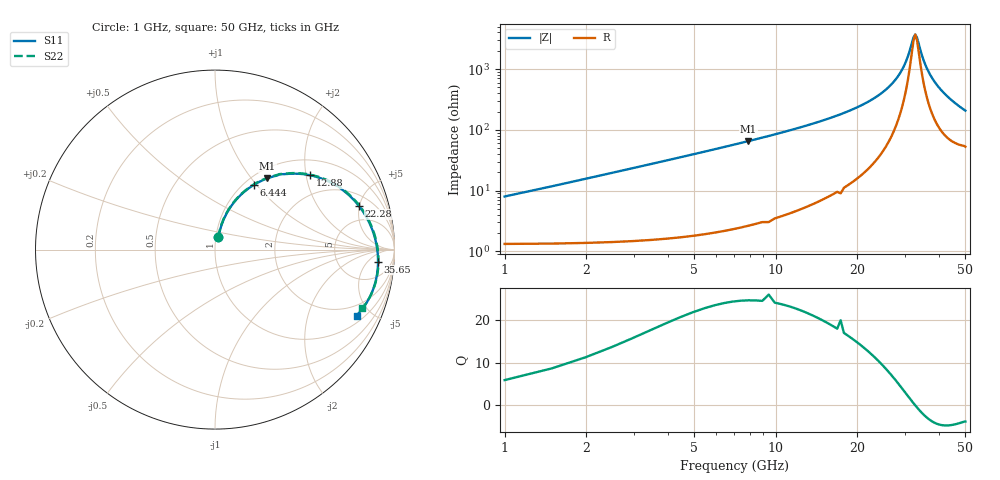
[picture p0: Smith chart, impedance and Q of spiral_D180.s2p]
! rapidmom parametric dataset (SG13G2 open stack, IHP)
! device = spiral
! family = spiral_N2
! stack = IHP SG13G2 (open PDK)
! Dout_um = 180
! width_um = 10
! spacing_um = 3
! sides = 8
! n_ports = 2
! n_dof = 5233
! cell_um = 3.333
! sweep = ROM (rational fit from adaptive anchor solves)
! rom_converged = True
! f_points = 100
! f_min_hz = 1.000e+09
! f_max_hz = 5.000e+10
! tool = rapidmom (2.5D MoM, A-EFIE)
! N = 2
# HZ S RI R 50
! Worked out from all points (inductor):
!   100 points, 1 GHz to 50 GHz, reference 50 ohm
!   read as 1/Y11, port 2 shorted: L = 1.24 nH near 1 GHz
!   highest Q = 24.7 at 7.929 GHz (marker M1), where L = 1.31 nH
!   self-resonance near 32.68 GHz
!   S11 on the Smith chart (normalised r, x): 1 GHz: 1.02, +0.14; 6.444 GHz: 1.11, +0.96; 12.88 GHz: 1.40, +2.12; 22.28 GHz: 3.03, +4.95; 35.65 GHz: 13, -10; 50 GHz: 1.34, -4.11
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1e9  0.0165 0.0681  0.9785 -0.0847  0.9785 -0.0847  0.0165 0.0681
1.494949e9  0.0255 0.0989  0.9725 -0.1255  0.9725 -0.1255  0.0239 0.0992
1.989899e9  0.0353 0.1336  0.9621 -0.1621  0.9621 -0.1621  0.0336 0.1341
2.484848e9  0.0477 0.1666  0.9492 -0.198  0.9492 -0.198  0.0461 0.1672
2.979798e9  0.0627 0.1978  0.934 -0.2328  0.934 -0.2328  0.061 0.1985
3.474747e9  0.0798 0.2271  0.9167 -0.266  0.9167 -0.266  0.0781 0.228
4.464646e9  0.1197 0.2798  0.8763 -0.3273  0.8763 -0.3273  0.1179 0.281
5.454545e9  0.1653 0.3241  0.8301 -0.3805  0.8301 -0.3805  0.1636 0.3255
6.444444e9  0.2148 0.3596  0.78 -0.4252  0.78 -0.4252  0.213 0.3613
7.929293e9  0.2923 0.3971  0.7015 -0.4769  0.7015 -0.4769  0.2903 0.3992
9.414141e9  0.3623 0.4197  0.6194 -0.5148  0.6194 -0.5148  0.3602 0.4208
1.040404e10  0.4189 0.4227  0.5724 -0.5268  0.5724 -0.5268  0.4168 0.4257
1.287879e10  0.5318 0.4137  0.4563 -0.543  0.4563 -0.543  0.5293 0.4177
1.535354e10  0.6262 0.3826  0.3576 -0.5378  0.3576 -0.5378  0.6235 0.3877
1.782828e10  0.7027 0.3384  0.2756 -0.5204  0.2756 -0.5204  0.6997 0.3449
2.228283e10  0.802 0.2431  0.1625 -0.4758  0.1625 -0.4758  0.7989 0.2526
2.574747e10  0.8528 0.1636  0.0964 -0.4379  0.0964 -0.4379  0.85 0.1762
2.970707e10  0.8892 0.0713  0.0361 -0.3952  0.0361 -0.3952  0.8874 0.088
3.366667e10  0.9063 -0.0213  -0.0128 -0.3539  -0.0128 -0.3539  0.9067 0.000319
3.564646e10  0.9084 -0.0667  -0.036 -0.3333  -0.036 -0.3333  0.9104 -0.0425
4.208081e10  0.8843 -0.2118  -0.0996 -0.2644  -0.0996 -0.2644  0.8956 -0.1791
5e10  0.7904 -0.3675  -0.1587 -0.1664  -0.1587 -0.1664  0.8217 -0.3278
